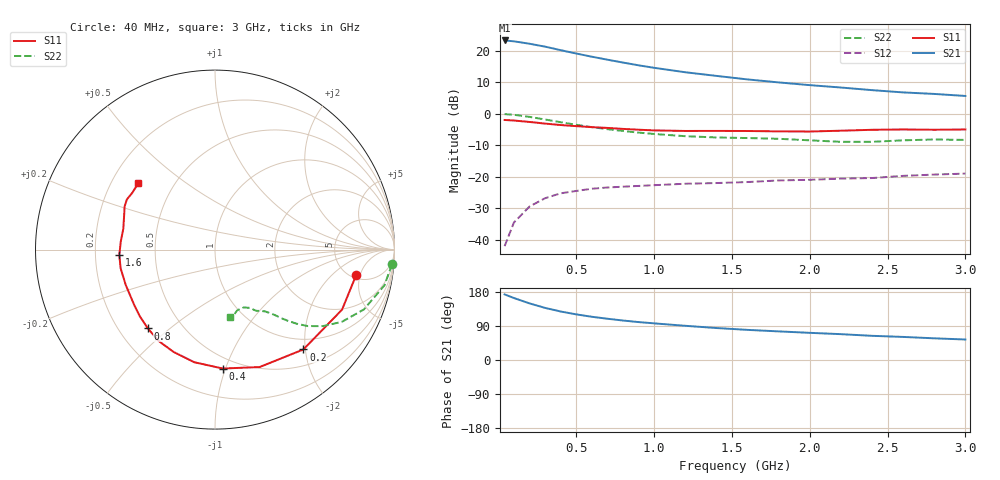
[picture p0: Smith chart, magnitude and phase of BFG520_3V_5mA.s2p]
! Filename:  BFG520B.S2P  Version:  2.1
! Philips part #: BFG520  Date: Feb 1992
! Bias condition: Vce=3V, Ic=5mA
! IN LINE PINNING: same data as with cross emitter pinning.
#  MHz  S  MA  R  50
! Freq  S11  S21  S12  S22  !GUM [dB]
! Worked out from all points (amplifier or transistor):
!   21 points, 40 MHz to 3 GHz, reference 50 ohm
!   highest |S21| = 23.2 dB at 40 MHz (marker M1)
!   |S21| within 3 dB of that: start of sweep to 393.2 MHz
!   unconditionally stable (mu >= 1): 1.746 GHz to end of sweep
!   at 300 MHz: K = 0.19, MSG = 24.0 dB, |S12| = -26.7 dB
!   at 1 GHz: K = 0.65, MSG = 18.6 dB, |S12| = -22.6 dB
!   at 3 GHz: K = 1.30, MAG = 9.0 dB, |S12| = -18.9 dB
!   lowest NFmin = 0.90 dB at 500 MHz
!   S11 on the Smith chart (normalised r, x): 40 MHz: 5.47, -4.32; 200 MHz: 0.79, -1.96; 400 MHz: 0.41, -0.98; 800 MHz: 0.32, -0.42; 1.6 GHz: 0.30, -0.03; 3 GHz: 0.31, +0.34
40  0.799 -10.3  14.52 173.1  0.008 84.1  0.989 -4.8
100  0.783 -25.3  14.07 163.5  0.019 77.0  0.965 -11.9
200  0.743 -48.5  12.89 149.4  0.034 66.6  0.894 -21.9
300  0.7 -69.2  11.59 137.5  0.046 58.1  0.813 -29.7
400  0.664 -86.3  10.19 128.0  0.055 52.3  0.736 -35.4
500  0.638 -100.5  9.02 120.4  0.06 47.6  0.67 -39.5
600  0.615 -112.1  8.033 114.1  0.065 44.7  0.615 -42.2
700  0.598 -121.7  7.204 108.9  0.068 42.6  0.571 -44.2
800  0.577 -130.4  6.491 104.2  0.07 41.7  0.535 -45.8
900  0.56 -138.4  5.868 100.1  0.072 41.1  0.504 -47.1
1000  0.546 -145.4  5.356 96.7  0.074 40.9  0.479 -48.4
1200  0.535 -158.4  4.556 90.3  0.078 40.6  0.442 -51.1
1400  0.536 -168.8  3.989 84.4  0.08 41.1  0.422 -54.0
1600  0.534 -176.7  3.507 79.5  0.083 43.4  0.413 -55.8
1800  0.527 175.3  3.144 75.5  0.088 44.4  0.402 -56.9
2000  0.524 167.1  2.847 71.7  0.09 46.6  0.38 -58.8
2200  0.54 159.7  2.61 68.2  0.094 47.7  0.36 -63.5
2400  0.558 154.5  2.372 63.8  0.096 50.1  0.36 -69.8
2600  0.565 150.3  2.183 60.9  0.104 51.9  0.38 -74.2
2800  0.559 145.5  2.065 57.2  0.109 52.4  0.392 -75.7
3000  0.565 139.3  1.918 54.1  0.113 54.8  0.386 -77.1
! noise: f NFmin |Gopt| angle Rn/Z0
500  0.9  0.396  29  0.24
900  1.1  0.334  50  0.26
1000  1.15  0.355  55  0.26
2000  1.85  0.275  130  0.16
